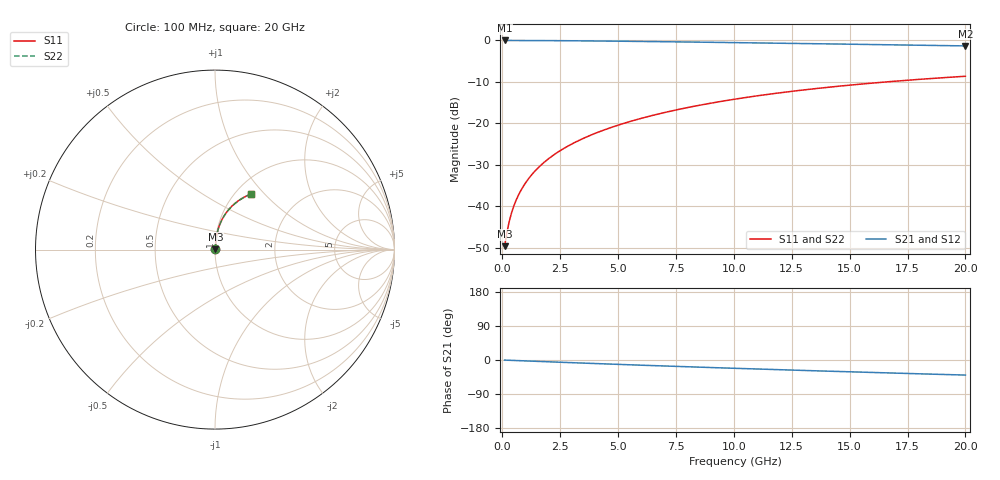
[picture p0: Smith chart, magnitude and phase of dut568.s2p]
! Touchstone file exported from HFSS 2024.1.0
!  File:  C:/UserFiles/LocalFiles/RDL_TSV_Batchsim/temp_RDL_top_568_1779681585.aedt
!  Generated:  12:01:55 PM May 25, 2026
!  Design:  RDL_top
!  Project:  temp_RDL_top_568_1779681585
!  Setup:  Setup1
!  Solution:  Sweep
! Variables:
!  dtsv = 10.80580581um
!  hbump = 3um
!  htsv = 53.37um
!  ldown = 100um
!  lrdl = 575.54um
!  p = 40
!  p1 = 45.98um
!  rhole = 1um
!  t = 450um
!  tdown = 3.915915916um
!  trdl = 4.39um
!  wdown = 15.38538539um
!  wrdl = 18.78um
# GHz S MA R 50.000000
! Terminal data exported
! Port[1] = Box2_T1
! Port[2] = Box2_T2
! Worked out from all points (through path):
!   200 points, 100 MHz to 20 GHz, reference 50 ohm
!   highest |S21| = -0.02 dB at 100 MHz (marker M1); lowest = -1.3 dB at 20 GHz (marker M2)
!   group delay of S21, straight-line fit = 5.48 ps
!   lowest |S11| = -49.6 dB at 100 MHz (marker M3), VSWR 1.01, Z = 50.3 + j0.205 ohm
!   |S11| at or under -10 dB: start of sweep to 16.61 GHz
!   |S22| runs from -49.6 to -8.7 dB; largest |S21 - S12| = 3.3e-15
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0.1  0.003314 37.9  0.9974 -0.3  0.9974 -0.3  0.003314 37.9
! Gamma 0 0 0 0
! Port Impedance 50 0 50 0
0.2  0.004859 55.7  0.9972 -0.5  0.9972 -0.5  0.004859 55.7
0.3  0.006592 64.1  0.9971 -0.7  0.9971 -0.7  0.006592 64.1
0.4  0.008358 68.8  0.9969 -1.0  0.9969 -1.0  0.008359 68.8
0.5  0.01013 72.0  0.9967 -1.2  0.9967 -1.2  0.01013 72.0
0.6  0.01191 74.2  0.9966 -1.5  0.9966 -1.5  0.01191 74.2
0.8  0.01549 77.3  0.9962 -1.9  0.9962 -1.9  0.01549 77.3
1.1  0.02092 79.9  0.9957 -2.6  0.9957 -2.6  0.02092 79.9
1.3  0.02458 81.0  0.9952 -3.1  0.9952 -3.1  0.02458 81.0
1.6  0.0301 82.1  0.9944 -3.8  0.9944 -3.8  0.0301 82.1
2.1  0.0394 83.1  0.9928 -5.0  0.9928 -5.0  0.03939 83.0
2.7  0.05068 83.5  0.9904 -6.4  0.9904 -6.4  0.05066 83.4
3.5  0.06593 83.4  0.9865 -8.2  0.9865 -8.2  0.0659 83.4
4.2  0.07946 83.0  0.9826 -9.8  0.9826 -9.8  0.07941 82.9
5  0.09512 82.3  0.9775 -11.6  0.9775 -11.6  0.09505 82.2
5.9  0.1129 81.3  0.9714 -13.5  0.9714 -13.5  0.1128 81.2
6.8  0.1309 80.1  0.9649 -15.4  0.9649 -15.4  0.1308 80.0
8.4  0.163 77.6  0.9527 -18.7  0.9527 -18.7  0.1628 77.5
10.1  0.1968 74.7  0.9392 -22.0  0.9392 -22.0  0.1965 74.6
13.4  0.2599 68.7  0.9123 -28.3  0.9123 -28.3  0.2594 68.6
16.7  0.3178 62.7  0.8849 -34.2  0.8849 -34.2  0.3171 62.6
20  0.3694 57.0  0.8574 -39.8  0.8574 -39.8  0.3686 56.9
